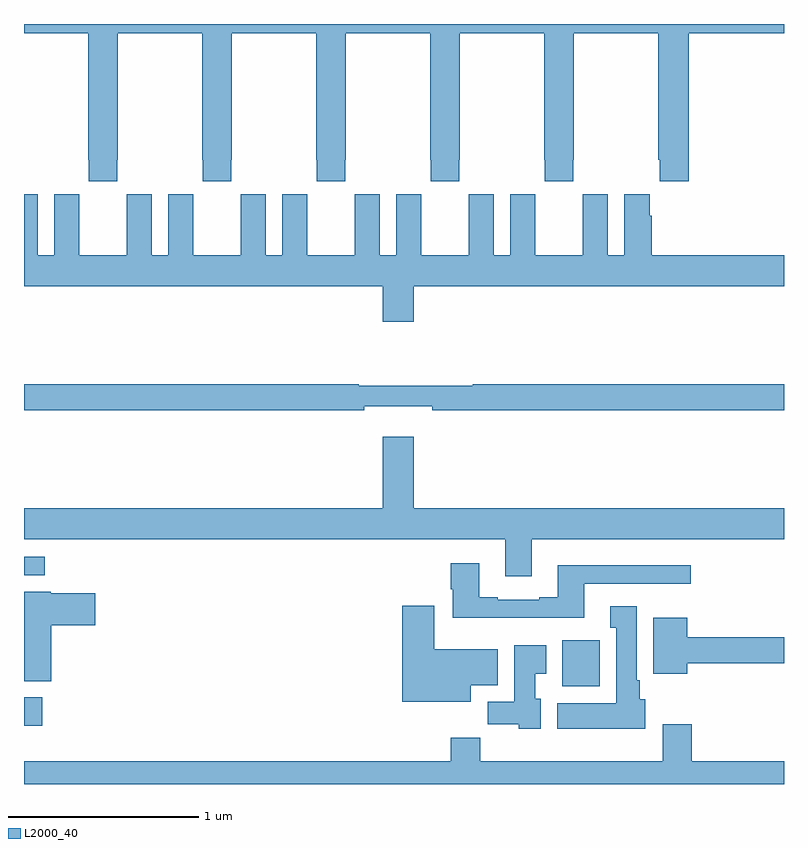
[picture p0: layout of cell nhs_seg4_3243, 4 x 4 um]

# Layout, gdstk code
import gdstk
lib = gdstk.Library(unit=1e-6, precision=1e-09)
def R(c, l, rs):  # rectangles x0, y0, x1, y1
    for r in rs: c.add(gdstk.rectangle(r[:2], r[2:], *l))
def P(c, l, *ps):  # polygons
    for p in ps: c.add(gdstk.Polygon(p, *l))
L2000_40 = (2000, 40)

nhs_seg4_3243 = lib.new_cell('nhs_seg4_3243')
R(nhs_seg4_3243, L2000_40, [(283,761.207,283.096,761.356), (285.833,761.414,286.03,761.656), (283,762,283.108,762.096)])
P(nhs_seg4_3243, L2000_40, [(283.491,764.185),(283.494,764.185),(283.494,764.852),(283.939,764.852),(283.939,764.185),(283.941,764.185),(283.941,764.073),(284.091,764.073),(284.091,764.185),(284.094,764.185),(284.094,764.852),(284.539,764.852),(284.539,764.185),(284.541,764.185),(284.541,764.073),(284.691,764.073),(284.691,764.185),(284.694,764.185),(284.694,764.852),(285.139,764.852),(285.139,764.185),(285.141,764.185),(285.141,764.073),(285.291,764.073),(285.291,764.185),(285.294,764.185),(285.294,764.852),(285.739,764.852),(285.739,764.185),(285.741,764.185),(285.741,764.073),(285.891,764.073),(285.891,764.185),(285.894,764.185),(285.894,764.852),(286.339,764.852),(286.339,764.185),(286.345,764.185),(286.345,764.073),(286.499,764.073),(286.499,764.852),(287,764.852),(287,764.9),(283,764.9),(283,764.852),(283.339,764.852),(283.339,764.185),(283.341,764.185),(283.341,764.073),(283.491,764.073)],
  [(285.052,763.52),(287,763.52),(287,763.684),(286.304,763.684),(286.304,763.892),(286.294,763.892),(286.294,764.005),(286.16,764.005),(286.16,763.684),(286.072,763.684),(286.072,764.005),(285.942,764.005),(285.942,763.892),(285.941,763.892),(285.941,763.684),(285.691,763.684),(285.691,763.892),(285.69,763.892),(285.69,764.005),(285.56,764.005),(285.56,763.684),(285.472,763.684),(285.472,764.005),(285.342,764.005),(285.342,763.892),(285.341,763.892),(285.341,763.684),(285.091,763.684),(285.091,763.892),(285.09,763.892),(285.09,764.005),(284.96,764.005),(284.96,763.684),(284.872,763.684),(284.872,764.005),(284.742,764.005),(284.742,763.892),(284.741,763.892),(284.741,763.684),(284.491,763.684),(284.491,763.892),(284.49,763.892),(284.49,764.005),(284.36,764.005),(284.36,763.684),(284.272,763.684),(284.272,764.005),(284.142,764.005),(284.142,763.892),(284.141,763.892),(284.141,763.684),(283.891,763.684),(283.891,763.892),(283.89,763.892),(283.89,764.005),(283.76,764.005),(283.76,763.684),(283.672,763.684),(283.672,764.005),(283.542,764.005),(283.542,763.892),(283.541,763.892),(283.541,763.684),(283.291,763.684),(283.291,763.892),(283.29,763.892),(283.29,764.005),(283.16,764.005),(283.16,763.684),(283.072,763.684),(283.072,764.005),(283,764.005),(283,763.52),(284.888,763.52),(284.888,763.332),(285.052,763.332)],
  [(284.792,762.887),(285.148,762.887),(285.148,762.868),(287,762.868),(287,763.004),(285.362,763.004),(285.362,762.997),(284.762,762.997),(284.762,763.004),(283,763.004),(283,762.868),(284.792,762.868)],
  [(285.673,762.188),(287,762.188),(287,762.352),(285.052,762.352),(285.052,762.727),(284.888,762.727),(284.888,762.352),(283,762.352),(283,762.188),(285.533,762.188),(285.533,761.994),(285.673,761.994)],
  [(285.949,761.955),(286.51,761.955),(286.51,762.052),(285.809,762.052),(285.809,761.884),(285.713,761.884),(285.713,761.871),(285.493,761.871),(285.493,761.884),(285.397,761.884),(285.397,762.061),(285.245,762.061),(285.245,761.926),(285.257,761.926),(285.257,761.774),(285.949,761.774)],
  [(283.144,761.735),(283.375,761.735),(283.375,761.905),(283.14,761.905),(283.14,761.911),(283,761.911),(283,761.441),(283.144,761.441)],
  [(285.352,761.42),(285.493,761.42),(285.493,761.608),(285.16,761.608),(285.16,761.839),(284.99,761.839),(284.99,761.333),(285.352,761.333)],
  [(286.27,761.346),(286.24,761.346),(286.24,761.446),(286.225,761.446),(286.225,761.836),(286.085,761.836),(286.085,761.723),(286.118,761.723),(286.118,761.326),(285.806,761.326),(285.806,761.192),(286.27,761.192)],
  [(286.492,761.536),(287,761.536),(287,761.672),(286.492,761.672),(286.492,761.776),(286.313,761.776),(286.313,761.48),(286.492,761.48)],
  [(285.721,761.35),(285.691,761.35),(285.691,761.48),(285.748,761.48),(285.748,761.629),(285.581,761.629),(285.581,761.332),(285.442,761.332),(285.442,761.214),(285.603,761.214),(285.603,761.192),(285.721,761.192)],
  [(286.361,761.215),(286.361,761.02),(285.401,761.02),(285.401,761.144),(285.245,761.144),(285.245,761.02),(283,761.02),(283,760.9),(287,760.9),(287,761.02),(286.514,761.02),(286.514,761.215)])

lib.write_gds('nhs_seg4_3243.gds')
